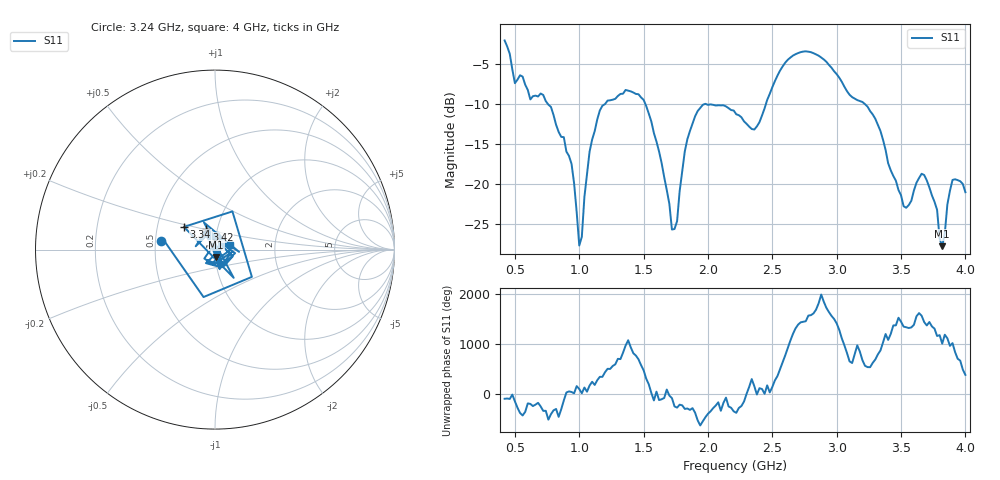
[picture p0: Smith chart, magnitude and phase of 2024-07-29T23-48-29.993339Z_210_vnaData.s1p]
!Created with skrf (http://scikit-rf.org).
# Hz S RI R 50.0
!freq ReS11 ImS11
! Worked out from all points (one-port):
!   180 points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, 420 MHz to 4 GHz, reference 50 ohm
!   lowest |S11| = -27.8 dB at 3.82 GHz (marker M1), VSWR 1.09, Z = 50.5 - j4.08 ohm
!   |S11| at or under -10 dB: 756.1 MHz to 1.201 GHz (444.8 MHz wide, 45.5 % of centre); 1.513 GHz to 1.977 GHz (463.8 MHz wide, 26.6 % of centre); 3.218 GHz to end of sweep (the widest 3 of 4)
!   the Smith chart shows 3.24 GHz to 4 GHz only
!   S11 on the Smith chart (normalised r, x): 3.24 GHz: 0.54, +0.05; 3.34 GHz: 0.69, +0.18; 3.42 GHz: 0.89, +0.20; 4 GHz: 1.19, +0.06
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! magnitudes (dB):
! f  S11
! 420 MHz  -2.1
! 500 MHz  -7.4
! 720 MHz  -8.9
! 880 MHz  -14.2
! 940 MHz  -17.5
! 1 GHz  -27.7
! 1.08 GHz  -16.0
! 1.14 GHz  -11.9
! 1.32 GHz  -8.7
! 1.52 GHz  -10.3
! 1.72 GHz  -25.7
! 1.76 GHz  -24.6
! 1.78 GHz  -20.9
! 1.84 GHz  -14.4
! 1.92 GHz  -10.9
! 2.22 GHz  -11.3
! 2.36 GHz  -13.2
! 2.66 GHz  -4.0
! 2.88 GHz  -4.2
! 3.12 GHz  -9.1
! 3.24 GHz  -10.3
! 3.34 GHz  -13.4
! 3.42 GHz  -18.3
! 3.56 GHz  -22.6
! 3.68 GHz  -18.9
! 3.82 GHz  -27.8
! 3.9 GHz  -19.5
! 4 GHz  -21.0
